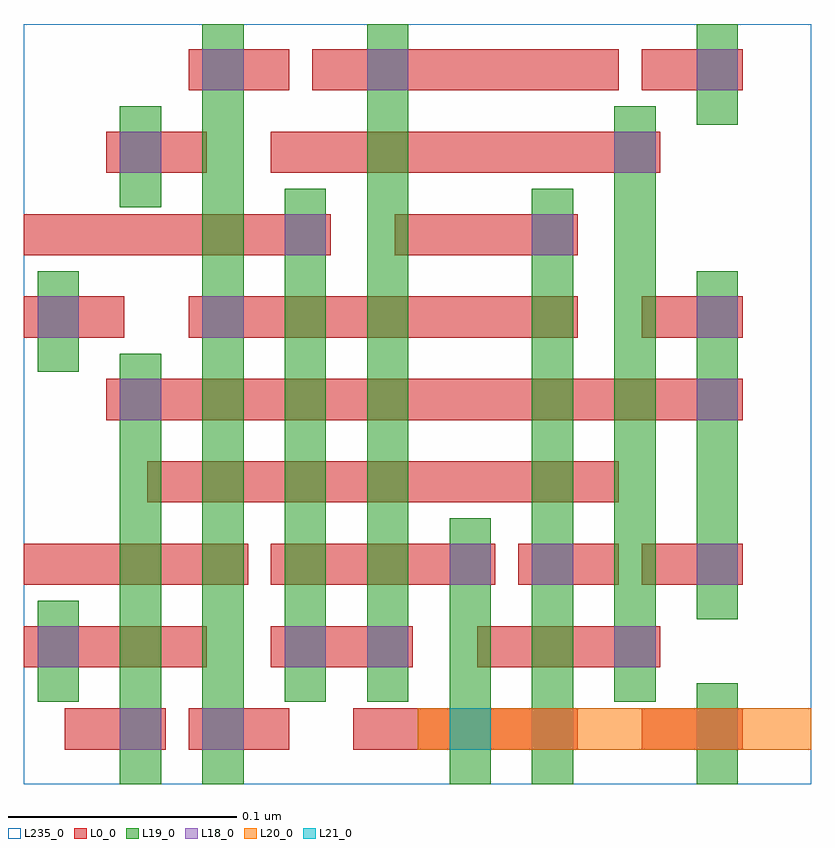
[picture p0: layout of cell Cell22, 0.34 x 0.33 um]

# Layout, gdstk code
import gdstk
lib = gdstk.Library(unit=1e-6, precision=2.5e-10)
def R(c, l, rs):  # rectangles x0, y0, x1, y1
    for r in rs: c.add(gdstk.rectangle(r[:2], r[2:], *l))
def A(c, l, x, y, w, h, nx, ny, dx, dy):  # array of equal rectangles
    R(c, l, [(x+i*dx, y+j*dy, x+i*dx+w, y+j*dy+h) for i in range(nx) for j in range(ny)])
L0_0 = (0, 0)
L18_0 = (18, 0)
L19_0 = (19, 0)
L20_0 = (20, 0)
L21_0 = (21, 0)
L235_0 = (235, 0)

cell22 = lib.new_cell('Cell22')
A(cell22, L0_0, 0.274, 0.071, 0.044, 0.018, 1, 3, 0, 0.108)
R(cell22, L0_0, [(0.022,-0.001,0.066,0.017), (0.076,-0.001,0.12,0.017), (0.148,-0.001,0.246,0.017), (0.274,-0.001,0.318,0.017), (0.004,0.035,0.084,0.053), (0.112,0.035,0.174,0.053), (0.202,0.035,0.282,0.053), (0.004,0.071,0.102,0.089), (0.112,0.071,0.21,0.089), (0.22,0.071,0.264,0.089), (0.058,0.107,0.264,0.125), (0.04,0.143,0.318,0.161), (0.004,0.179,0.048,0.197), (0.076,0.179,0.246,0.197), (0.004,0.215,0.138,0.233), (0.166,0.215,0.246,0.233), (0.04,0.251,0.084,0.269), (0.112,0.251,0.282,0.269), (0.076,0.287,0.12,0.305), (0.13,0.287,0.264,0.305)])
A(cell22, L18_0, 0.298, -0.001, 0.018, 0.018, 1, 3, 0, 0.072)
R(cell22, L18_0, [(0.046,-0.001,0.064,0.017), (0.082,-0.001,0.1,0.017), (0.226,-0.001,0.244,0.017), (0.01,0.035,0.028,0.053), (0.118,0.035,0.136,0.053), (0.154,0.035,0.172,0.053), (0.262,0.035,0.28,0.053), (0.19,0.071,0.208,0.089), (0.226,0.071,0.244,0.089), (0.046,0.143,0.064,0.161), (0.01,0.179,0.028,0.197), (0.082,0.179,0.1,0.197), (0.298,0.179,0.316,0.197), (0.118,0.215,0.136,0.233), (0.226,0.215,0.244,0.233), (0.046,0.251,0.064,0.269), (0.262,0.251,0.28,0.269), (0.082,0.287,0.1,0.305), (0.154,0.287,0.172,0.305), (0.298,0.287,0.316,0.305)])
R(cell22, L19_0, [(0.046,-0.016,0.064,0.172), (0.082,-0.016,0.1,0.316), (0.19,-0.016,0.208,0.1), (0.226,-0.016,0.244,0.244), (0.298,-0.016,0.316,0.028), (0.01,0.02,0.028,0.064), (0.118,0.02,0.136,0.244), (0.154,0.02,0.172,0.316), (0.262,0.02,0.28,0.28), (0.298,0.056,0.316,0.208), (0.01,0.164,0.028,0.208), (0.046,0.236,0.064,0.28), (0.298,0.272,0.316,0.316)])
R(cell22, L20_0, [(0.176,-0.001,0.348,0.017)])
R(cell22, L21_0, [(0.19,-0.001,0.208,0.017)])
R(cell22, L235_0, [(0.004,-0.016,0.348,0.316)])

lib.write_gds('Cell22.gds')
